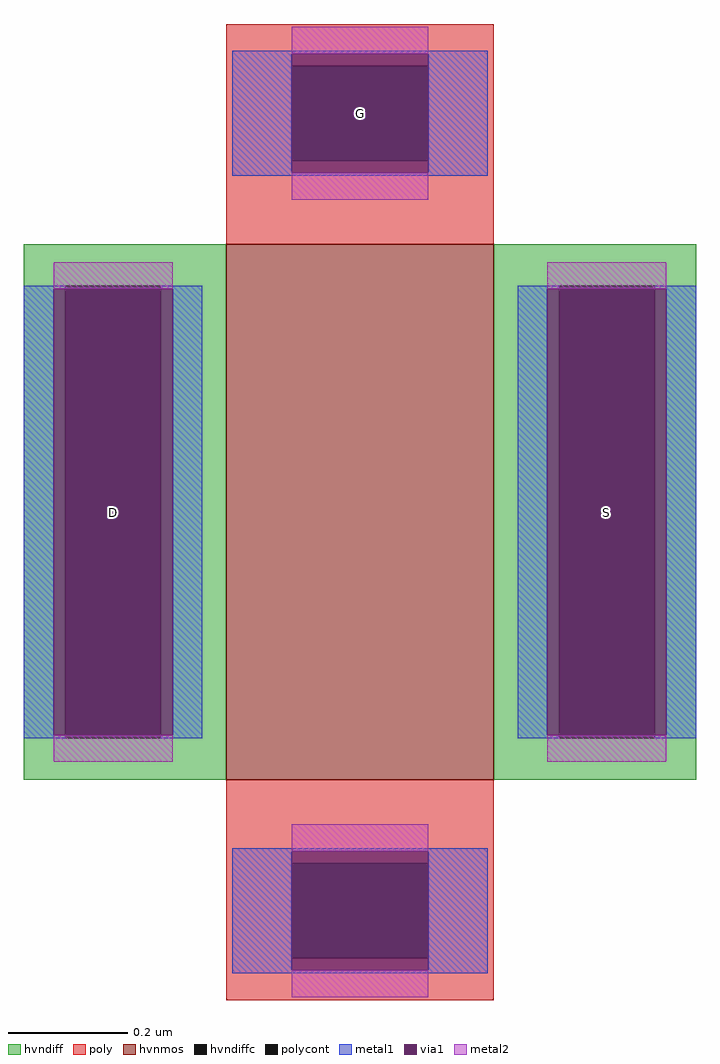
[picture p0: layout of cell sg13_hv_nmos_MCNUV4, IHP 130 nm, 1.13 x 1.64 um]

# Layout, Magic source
magic
tech ihp-sg13cmos5l
magscale 1 2
<< hvnmos >>
rect -45 -90 45 90
<< hvndiff >>
rect -113 76 -45 90
rect -113 -76 -99 76
rect -67 -76 -45 76
rect -113 -90 -45 -76
rect 45 76 113 90
rect 45 -76 67 76
rect 99 -76 113 76
rect 45 -90 113 -76
<< hvndiffc >>
rect -99 -76 -67 76
rect 67 -76 99 76
<< poly >>
rect -45 150 45 164
rect -45 118 -23 150
rect 23 118 45 150
rect -45 90 45 118
rect -45 -118 45 -90
rect -45 -150 -23 -118
rect 23 -150 45 -118
rect -45 -164 45 -150
<< polycont >>
rect -23 118 23 150
rect -23 -150 23 -118
<< metal1 >>
rect -43 154 43 155
rect -43 114 -23 154
rect 23 114 43 154
rect -43 113 43 114
rect -113 75 -99 76
rect -67 75 -53 76
rect -113 -75 -103 75
rect -63 -75 -53 75
rect -113 -76 -99 -75
rect -67 -76 -53 -75
rect 53 75 67 76
rect 99 75 113 76
rect 53 -75 63 75
rect 103 -75 113 75
rect 53 -76 67 -75
rect 99 -76 113 -75
rect -43 -114 43 -113
rect -43 -154 -23 -114
rect 23 -154 43 -114
rect -43 -155 43 -154
<< via1 >>
rect -23 150 23 154
rect -23 118 23 150
rect -23 114 23 118
rect -103 -75 -99 75
rect -99 -75 -67 75
rect -67 -75 -63 75
rect 63 -75 67 75
rect 67 -75 99 75
rect 99 -75 103 75
rect -23 -118 23 -114
rect -23 -150 23 -118
rect -23 -154 23 -150
<< metal2 >>
rect -23 154 23 163
rect -23 105 23 114
rect -103 75 -63 84
rect -103 -84 -63 -75
rect 63 75 103 84
rect 63 -84 103 -75
rect -23 -114 23 -105
rect -23 -163 23 -154
<< labels >>
rlabel hvndiffc -83 0 -83 0 0 D
port 10 nsew
rlabel hvndiffc 83 0 83 0 0 S
port 11 nsew
rlabel polycont 0 134 0 134 0 G
port 12 nsew
<< properties >>
string gencell sg13_hv_nmos
string library sg13cmos5l
string parameters w 0.9 l 0.45 m 1 ng 1 diffcov 100 polycov 100 guard 0 glc 1 grc 1 gtc 1 gbc 1 tbcov 100 rlcov 100 topc 1 botc 1 poverlap 0 doverlap 1 lmin 0.45 wmin 0.15 class mosfet compatible {sg13_lv_nmos sg13_hv_nmos} full_metal 1 conn_gates 0 gate_ring 0 doports 1 viasrc 100 viadrn 100 viagate 100 ccols 1 viagb 0 viagr 0 viagl 0 viagt 0
<< end >>
